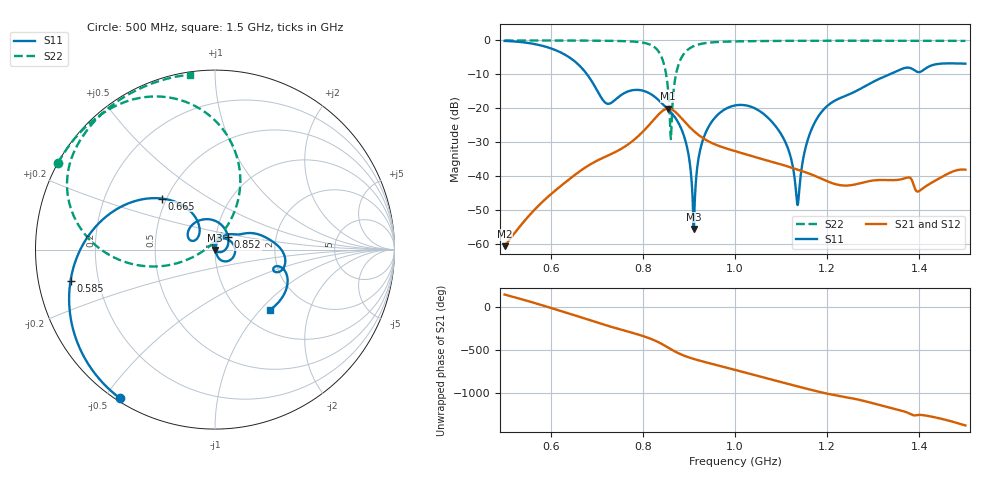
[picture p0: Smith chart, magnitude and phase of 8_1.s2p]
! TOUCHSTONE file generated by CST MICROWAVE STUDIO
! Date and time: Fri Oct  2 18:47:25 2020
! Project name: Scenario_1_Free_Space_out_of_line.cst
! Parameters = {Lambda=346.42; Step_1=17.321; dy1=226.253; dx1=173; L_HA=400; MT=2.54; Rad_Dielectric=30; Rad_Lower=7.3; Rad_Upper=30; a_HA=580; a_WG=246; b_HA=500; b_WG=121; c_HA=0; c_WG=187; d_feed=85; h_feed=15; h_lower=18; h_upper=40}
! Header version: 2018
! Port assignment regex: !\s*Touchstone port\s*([0-9]+)\s*=\s*(CST MWS port|CST DS port)\s*([0-9]+|Zmin|Zmax)\s*\(\"(.*)\"\)(\s*mode\s*([0-9]+))?.*
! Touchstone port assignment:
! Touchstone port 1 = CST MWS port 1 ("")
! Touchstone port 2 = CST MWS port 2 ("")
# GHz S DB R 50
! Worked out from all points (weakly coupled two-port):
!   1003 points, 500 MHz to 1.5 GHz, reference 50 ohm
!   highest |S21| = -20.06 dB at 855 MHz (marker M1); lowest = -60.5 dB at 500 MHz (marker M2)
!   lowest |S11| = -55.5 dB at 910 MHz (marker M3), VSWR 1.00, Z = 49.9 - j0.153 ohm
!   |S11| at or under -10 dB: 679 MHz to 1.335 GHz (656.3 MHz wide, 65.2 % of centre)
!   |S22| runs from -29.0 to 0.0 dB; largest |S21 - S12| = 1.2e-06
!   S11 on the Smith chart (normalised r, x): 500 MHz: 0.01, -0.55; 585 MHz: 0.10, -0.10; 665 MHz: 0.47, +0.32; 852 MHz: 1.14, +0.16; 1.5 GHz: 1.34, -1.13
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0.5  -0.15 -122.5  -60.53 142.0  -60.53 142.0  -0.01 151.2
0.585  -1.69 -167.9  -47.13 11.5  -47.13 11.5  -0.01 145.3
0.665  -7.76 136.0  -38.32 -121.7  -38.32 -121.7  -0.04 138.6
0.667  -8.04 134.6  -38.13 -125.1  -38.13 -125.1  -0.04 138.4
0.722  -18.58 142.0  -34.01 141.4  -34.01 141.4  -0.10 132.2
0.791  -14.57 125.3  -28.03 35.3  -28.03 35.3  -0.47 117.2
0.834  -17.54 68.4  -21.79 -52.6  -21.79 -52.6  -3.23 87.6
0.852  -19.92 44.2  -20.11 -105.9  -20.11 -105.9  -11.24 63.9
0.855  -20.33 40.0  -20.06 -115.5  -20.06 -115.5  -14.75 62.2
0.862  -21.33 29.5  -20.28 -137.6  -20.28 -137.6  -25.68 177.6
0.874  -23.50 9.4  -21.48 -172.4  -21.48 -172.4  -8.71 -165.1
0.892  -29.32 -24.1  -24.11 145.8  -24.11 145.8  -3.46 177.5
0.91  -55.49 -114.5  -26.58 113.7  -26.58 113.7  -1.70 165.4
0.937  -26.94 86.5  -29.28 73.9  -29.28 73.9  -0.76 153.9
1  -19.13 4.9  -32.55 -13.9  -32.55 -13.9  -0.28 140.7
1.093  -26.13 -67.4  -36.19 -146.1  -36.19 -146.1  -0.14 130.7
1.118  -32.99 -70.8  -37.23 178.5  -37.23 178.5  -0.12 128.5
1.136  -48.43 4.9  -38.02 153.5  -38.02 153.5  -0.11 127.0
1.167  -25.88 70.9  -39.49 110.8  -39.49 110.8  -0.10 124.5
1.334  -10.07 9.6  -41.10 -91.8  -41.10 -91.8  -0.09 111.7
1.398  -9.32 -18.3  -44.42 -178.1  -44.42 -178.1  -0.10 106.8
1.5  -6.83 -47.6  -38.03 59.5  -38.03 59.5  -0.14 98.1
